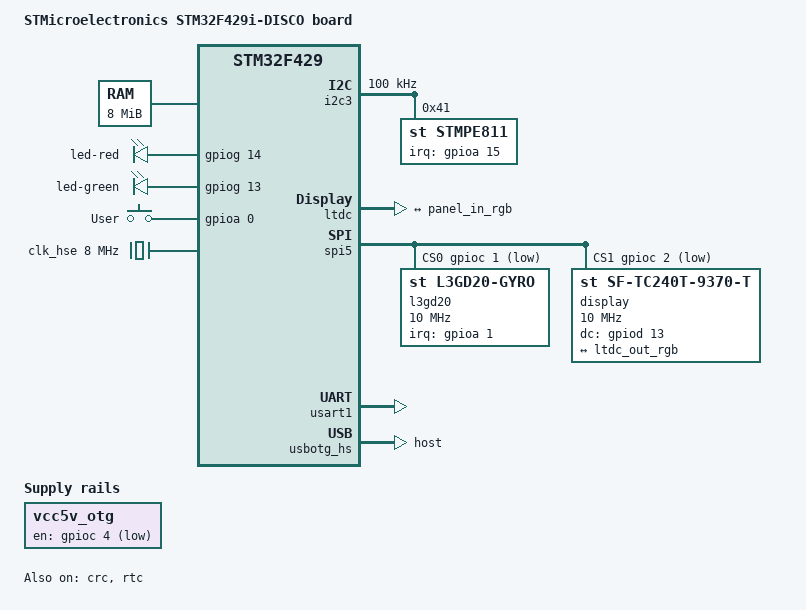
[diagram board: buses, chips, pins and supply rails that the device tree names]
/*
 * Copyright 2015 - Maxime Coquelin <mcoquelin.stm32@gmail.com>
 *
 * This file is dual-licensed: you can use it either under the terms
 * of the GPL or the X11 license, at your option. Note that this dual
 * licensing only applies to this file, and not this project as a
 * whole.
 *
 *  a) This file is free software; you can redistribute it and/or
 *     modify it under the terms of the GNU General Public License as
 *     published by the Free Software Foundation; either version 2 of the
 *     License, or (at your option) any later version.
 *
 *     This file is distributed in the hope that it will be useful,
 *     but WITHOUT ANY WARRANTY; without even the implied warranty of
 *     MERCHANTABILITY or FITNESS FOR A PARTICULAR PURPOSE.  See the
 *     GNU General Public License for more details.
 *
 *     You should have received a copy of the GNU General Public
 *     License along with this file; if not, write to the Free
 *     Software Foundation, Inc., 51 Franklin St, Fifth Floor, Boston,
 *     MA 02110-1301 USA
 *
 * Or, alternatively,
 *
 *  b) Permission is hereby granted, free of charge, to any person
 *     obtaining a copy of this software and associated documentation
 *     files (the "Software"), to deal in the Software without
 *     restriction, including without limitation the rights to use,
 *     copy, modify, merge, publish, distribute, sublicense, and/or
 *     sell copies of the Software, and to permit persons to whom the
 *     Software is furnished to do so, subject to the following
 *     conditions:
 *
 *     The above copyright notice and this permission notice shall be
 *     included in all copies or substantial portions of the Software.
 *
 *     THE SOFTWARE IS PROVIDED "AS IS", WITHOUT WARRANTY OF ANY KIND,
 *     EXPRESS OR IMPLIED, INCLUDING BUT NOT LIMITED TO THE WARRANTIES
 *     OF MERCHANTABILITY, FITNESS FOR A PARTICULAR PURPOSE AND
 *     NONINFRINGEMENT. IN NO EVENT SHALL THE AUTHORS OR COPYRIGHT
 *     HOLDERS BE LIABLE FOR ANY CLAIM, DAMAGES OR OTHER LIABILITY,
 *     WHETHER IN AN ACTION OF CONTRACT, TORT OR OTHERWISE, ARISING
 *     FROM, OUT OF OR IN CONNECTION WITH THE SOFTWARE OR THE USE OR
 *     OTHER DEALINGS IN THE SOFTWARE.
 */

/dts-v1/;
#include "stm32f429.dtsi"
#include "stm32f429-pinctrl.dtsi"
#include <dt-bindings/input/input.h>
#include <dt-bindings/interrupt-controller/irq.h>
#include <dt-bindings/gpio/gpio.h>

/ {
	model = "STMicroelectronics STM32F429i-DISCO board";
	compatible = "st,stm32f429i-disco", "st,stm32f429";

	chosen {
		bootargs = "root=/dev/ram";
		stdout-path = "serial0:115200n8";
	};

	memory@90000000 {
		device_type = "memory";
		reg = <0x90000000 0x800000>;
	};

	aliases {
		serial0 = &usart1;
	};

	leds {
		compatible = "gpio-leds";
		led-red {
			gpios = <&gpiog 14 0>;
		};
		led-green {
			gpios = <&gpiog 13 0>;
			linux,default-trigger = "heartbeat";
		};
	};

	gpio-keys {
		compatible = "gpio-keys";
		autorepeat;
		button-0 {
			label = "User";
			linux,code = <KEY_HOME>;
			gpios = <&gpioa 0 0>;
		};
	};

	/* This turns on vbus for otg for host mode (dwc2) */
	vcc5v_otg: vcc5v-otg-regulator {
		compatible = "regulator-fixed";
		gpio = <&gpioc 4 0>;
		regulator-name = "vcc5_host1";
		regulator-always-on;
	};
};

&clk_hse {
	clock-frequency = <8000000>;
};

&crc {
	status = "okay";
};

&i2c3 {
	pinctrl-names = "default";
	pinctrl-0 = <&i2c3_pins>;
	clock-frequency = <100000>;
	status = "okay";

	stmpe811@41 {
		compatible = "st,stmpe811";
		reg = <0x41>;
		interrupts = <15 IRQ_TYPE_EDGE_FALLING>;
		interrupt-parent = <&gpioa>;
		/* 3.25 MHz ADC clock speed */
		st,adc-freq = <1>;
		/* 12-bit ADC */
		st,mod-12b = <1>;
		/* internal ADC reference */
		st,ref-sel = <0>;
		/* ADC converstion time: 80 clocks */
		st,sample-time = <4>;

		stmpe_touchscreen {
			compatible = "st,stmpe-ts";
			/* 8 sample average control */
			st,ave-ctrl = <3>;
			/* 7 length fractional part in z */
			st,fraction-z = <7>;
			/*
			 * 50 mA typical 80 mA max touchscreen drivers
			 * current limit value
			 */
			st,i-drive = <1>;
			/* 1 ms panel driver settling time */
			st,settling = <3>;
			/* 5 ms touch detect interrupt delay */
			st,touch-det-delay = <5>;
		};

		stmpe_adc {
			compatible = "st,stmpe-adc";
			/* forbid to use ADC channels 3-0 (touch) */
			st,norequest-mask = <0x0F>;
		};
	};
};

&ltdc {
	status = "okay";
	pinctrl-0 = <&ltdc_pins_b>;
	pinctrl-names = "default";

	port {
		ltdc_out_rgb: endpoint {
			remote-endpoint = <&panel_in_rgb>;
		};
	};
};

&rtc {
	assigned-clocks = <&rcc 1 CLK_RTC>;
	assigned-clock-parents = <&rcc 1 CLK_LSI>;
	status = "okay";
};

&spi5 {
	status = "okay";
	pinctrl-0 = <&spi5_pins>;
	pinctrl-names = "default";
	#address-cells = <1>;
	#size-cells = <0>;
	cs-gpios = <&gpioc 1 GPIO_ACTIVE_LOW>, <&gpioc 2 GPIO_ACTIVE_LOW>;

	l3gd20: l3gd20@0 {
		compatible = "st,l3gd20-gyro";
		spi-max-frequency = <10000000>;
		st,drdy-int-pin = <2>;
		interrupt-parent = <&gpioa>;
		interrupts = <1 IRQ_TYPE_EDGE_RISING>,
				<2 IRQ_TYPE_EDGE_RISING>;
		reg = <0>;
		status = "okay";
	};

	display: display@1{
		/* Connect panel-ilitek-9341 to ltdc */
		compatible = "st,sf-tc240t-9370-t";
		reg = <1>;
		spi-3wire;
		spi-max-frequency = <10000000>;
		dc-gpios = <&gpiod 13 0>;
		port {
			panel_in_rgb: endpoint {
			remote-endpoint = <&ltdc_out_rgb>;
			};
		};
	};
};

&usart1 {
	pinctrl-0 = <&usart1_pins_a>;
	pinctrl-names = "default";
	status = "okay";
};

&usbotg_hs {
	compatible = "st,stm32f4x9-fsotg";
	dr_mode = "host";
	pinctrl-0 = <&usbotg_fs_pins_b>;
	pinctrl-names = "default";
	status = "okay";
};
